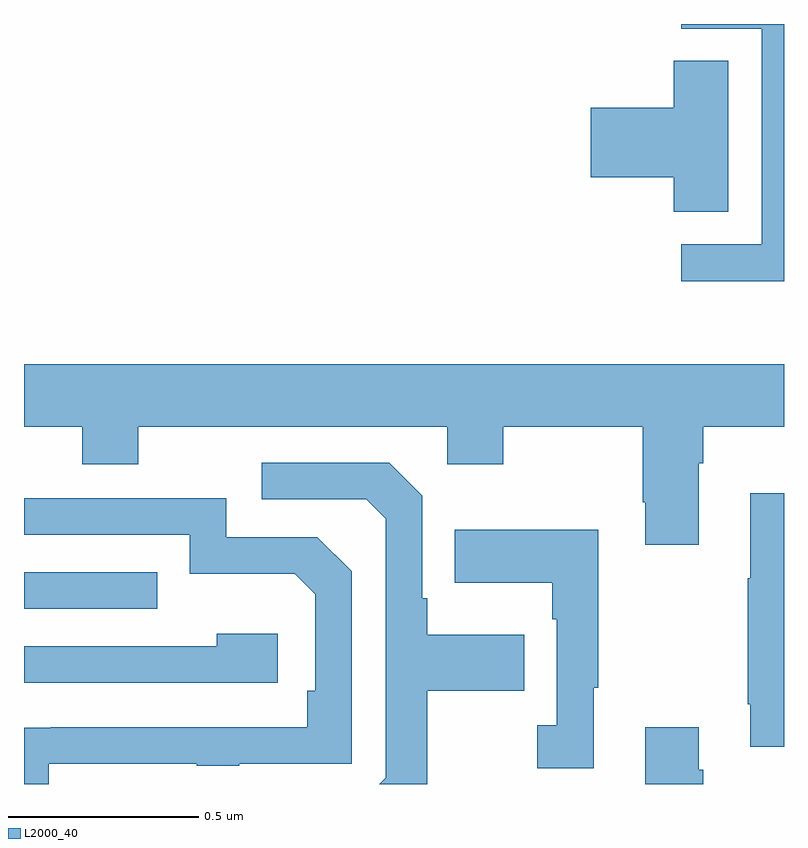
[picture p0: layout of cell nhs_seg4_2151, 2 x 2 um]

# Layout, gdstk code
import gdstk
lib = gdstk.Library(unit=1e-6, precision=1e-09)
def R(c, l, rs):  # rectangles x0, y0, x1, y1
    for r in rs: c.add(gdstk.rectangle(r[:2], r[2:], *l))
def P(c, l, *ps):  # polygons
    for p in ps: c.add(gdstk.Polygon(p, *l))
L2000_40 = (2000, 40)

nhs_seg4_2151 = lib.new_cell('nhs_seg4_2151')
R(nhs_seg4_2151, L2000_40, [(137,776.361,137.351,776.457)])
P(nhs_seg4_2151, L2000_40, [(139,777.9),(138.729,777.9),(138.729,777.888),(138.942,777.888),(138.942,777.321),(138.729,777.321),(138.729,777.223),(139,777.223)],
  [(138.853,777.803),(138.71,777.803),(138.71,777.68),(138.492,777.68),(138.492,777.497),(138.71,777.497),(138.71,777.406),(138.853,777.406)],
  [(138.775,776.744),(138.788,776.744),(138.788,776.84),(139,776.84),(139,777.004),(137,777.004),(137,776.84),(137.153,776.84),(137.153,776.741),(137.301,776.741),(137.301,776.84),(138.114,776.84),(138.114,776.741),(138.261,776.741),(138.261,776.84),(138.628,776.84),(138.628,776.641),(138.635,776.641),(138.635,776.529),(138.775,776.529)],
  [(138.061,776.146),(138.317,776.146),(138.317,776.293),(138.061,776.293),(138.061,776.389),(138.048,776.389),(138.048,776.658),(137.961,776.745),(137.625,776.745),(137.625,776.649),(137.901,776.649),(137.952,776.598),(137.952,775.917),(137.935,775.9),(138.061,775.9)],
  [(139,776.665),(138.911,776.665),(138.911,776.441),(138.904,776.441),(138.904,776.11),(138.911,776.11),(138.911,775.998),(139,775.998)],
  [(137.065,775.953),(137.455,775.953),(137.455,775.948),(137.567,775.948),(137.567,775.953),(137.862,775.953),(137.862,776.46),(137.772,776.55),(137.532,776.55),(137.532,776.652),(137,776.652),(137,776.556),(137.436,776.556),(137.436,776.453),(137.713,776.453),(137.766,776.4),(137.766,776.146),(137.746,776.146),(137.746,776.049),(137.071,776.049),(137.071,776.048),(137,776.048),(137,775.9),(137.065,775.9)],
  [(138.499,776.153),(138.511,776.153),(138.511,776.569),(138.133,776.569),(138.133,776.429),(138.39,776.429),(138.39,776.333),(138.402,776.333),(138.402,776.054),(138.351,776.054),(138.351,775.941),(138.499,775.941)],
  [(137.668,776.296),(137.507,776.296),(137.507,776.262),(137,776.262),(137,776.166),(137.668,776.166)],
  [(138.788,775.937),(138.775,775.937),(138.775,776.05),(138.635,776.05),(138.635,775.9),(138.788,775.9)])

lib.write_gds('nhs_seg4_2151.gds')
